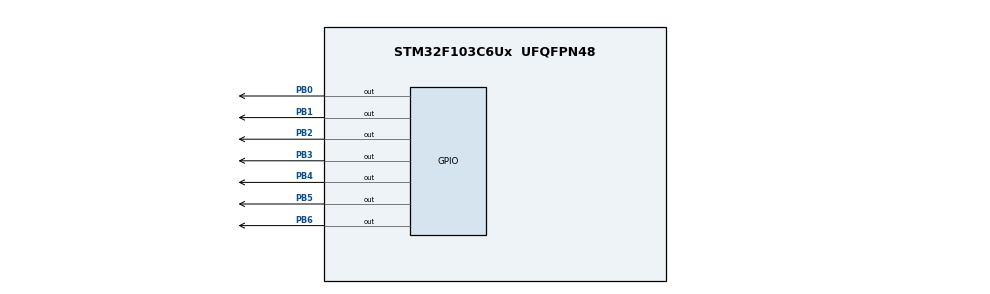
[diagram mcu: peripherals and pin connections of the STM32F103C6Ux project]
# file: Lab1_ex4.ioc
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Mcu.Family=STM32F1
Mcu.Name=STM32F103C6Ux
Mcu.Package=UFQFPN48
NVIC.PriorityGroup=NVIC_PRIORITYGROUP_4
PB0.Signal=GPIO_Output
PB1.Signal=GPIO_Output
PB2.Signal=GPIO_Output
PB3.Signal=GPIO_Output
PB4.Signal=GPIO_Output
PB5.Signal=GPIO_Output
PB6.Signal=GPIO_Output
ProjectManager.HeapSize=0x200
ProjectManager.StackSize=0x400
ProjectManager.TargetToolchain=STM32CubeIDE
RCC.APB1Freq_Value=8000000
RCC.APB2Freq_Value=8000000
VP_SYS_VS_ND.Mode=No_Debug
board=custom

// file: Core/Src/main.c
/* USER CODE BEGIN Header */
/**
  ******************************************************************************
  * @file           : main.c
  * @brief          : Main program body
  ******************************************************************************
  * @attention
  *
  * <h2><center>&copy; Copyright (c) 2025 STMicroelectronics.
  * All rights reserved.</center></h2>
  *
  * This software component is licensed by ST under BSD 3-Clause license,
  * the "License"; You may not use this file except in compliance with the
  * License. You may obtain a copy of the License at:
  *                        opensource.org/licenses/BSD-3-Clause
  *
  ******************************************************************************
  */
/* USER CODE END Header */
#include "main.h"

void SystemClock_Config(void);
static void MX_GPIO_Init(void);

/* USER CODE BEGIN 0 */
int counter = 0;

void display7SEG(uint8_t num){
	if (num > 9) return;
	switch (num)
	{
	case 0:
		HAL_GPIO_WritePin(GPIOB, GPIO_PIN_0, GPIO_PIN_RESET);
		HAL_GPIO_WritePin(GPIOB, GPIO_PIN_1, GPIO_PIN_RESET);
		HAL_GPIO_WritePin(GPIOB, GPIO_PIN_2, GPIO_PIN_RESET);
		HAL_GPIO_WritePin(GPIOB, GPIO_PIN_3, GPIO_PIN_RESET);
		HAL_GPIO_WritePin(GPIOB, GPIO_PIN_4, GPIO_PIN_RESET);
		HAL_GPIO_WritePin(GPIOB, GPIO_PIN_5, GPIO_PIN_RESET);
		HAL_GPIO_WritePin(GPIOB, GPIO_PIN_6, GPIO_PIN_SET);
		break;
	case 1:
		HAL_GPIO_WritePin(GPIOB, GPIO_PIN_0, GPIO_PIN_SET);
		HAL_GPIO_WritePin(GPIOB, GPIO_PIN_1, GPIO_PIN_RESET);
		HAL_GPIO_WritePin(GPIOB, GPIO_PIN_2, GPIO_PIN_RESET);
		HAL_GPIO_WritePin(GPIOB, GPIO_PIN_3, GPIO_PIN_SET);
		HAL_GPIO_WritePin(GPIOB, GPIO_PIN_4, GPIO_PIN_SET);
		HAL_GPIO_WritePin(GPIOB, GPIO_PIN_5, GPIO_PIN_SET);
		HAL_GPIO_WritePin(GPIOB, GPIO_PIN_6, GPIO_PIN_SET);
		break;
	case 2:
		HAL_GPIO_WritePin(GPIOB, GPIO_PIN_0, GPIO_PIN_RESET);
		HAL_GPIO_WritePin(GPIOB, GPIO_PIN_1, GPIO_PIN_RESET);
		HAL_GPIO_WritePin(GPIOB, GPIO_PIN_2, GPIO_PIN_SET);
		HAL_GPIO_WritePin(GPIOB, GPIO_PIN_3, GPIO_PIN_RESET);
		HAL_GPIO_WritePin(GPIOB, GPIO_PIN_4, GPIO_PIN_RESET);
		HAL_GPIO_WritePin(GPIOB, GPIO_PIN_5, GPIO_PIN_SET);
		HAL_GPIO_WritePin(GPIOB, GPIO_PIN_6, GPIO_PIN_RESET);
		break;
	case 3:
		HAL_GPIO_WritePin(GPIOB, GPIO_PIN_0, GPIO_PIN_RESET);
		HAL_GPIO_WritePin(GPIOB, GPIO_PIN_1, GPIO_PIN_RESET);
		HAL_GPIO_WritePin(GPIOB, GPIO_PIN_2, GPIO_PIN_RESET);
		HAL_GPIO_WritePin(GPIOB, GPIO_PIN_3, GPIO_PIN_RESET);
		HAL_GPIO_WritePin(GPIOB, GPIO_PIN_4, GPIO_PIN_SET);
		HAL_GPIO_WritePin(GPIOB, GPIO_PIN_5, GPIO_PIN_SET);
		HAL_GPIO_WritePin(GPIOB, GPIO_PIN_6, GPIO_PIN_RESET);
		break;
	case 4:
        HAL_GPIO_WritePin(GPIOB, GPIO_PIN_0, GPIO_PIN_SET);
        HAL_GPIO_WritePin(GPIOB, GPIO_PIN_1, GPIO_PIN_RESET);
        HAL_GPIO_WritePin(GPIOB, GPIO_PIN_2, GPIO_PIN_RESET);
        HAL_GPIO_WritePin(GPIOB, GPIO_PIN_3, GPIO_PIN_SET);
        HAL_GPIO_WritePin(GPIOB, GPIO_PIN_4, GPIO_PIN_SET);
        HAL_GPIO_WritePin(GPIOB, GPIO_PIN_5, GPIO_PIN_RESET);
        HAL_GPIO_WritePin(GPIOB, GPIO_PIN_6, GPIO_PIN_RESET);
        break;
	case 5:
		HAL_GPIO_WritePin(GPIOB, GPIO_PIN_0, GPIO_PIN_RESET);
		HAL_GPIO_WritePin(GPIOB, GPIO_PIN_1, GPIO_PIN_SET);
		HAL_GPIO_WritePin(GPIOB, GPIO_PIN_2, GPIO_PIN_RESET);
		HAL_GPIO_WritePin(GPIOB, GPIO_PIN_3, GPIO_PIN_RESET);
		HAL_GPIO_WritePin(GPIOB, GPIO_PIN_4, GPIO_PIN_SET);
		HAL_GPIO_WritePin(GPIOB, GPIO_PIN_5, GPIO_PIN_RESET);
		HAL_GPIO_WritePin(GPIOB, GPIO_PIN_6, GPIO_PIN_RESET);
		break;
	case 6:
		HAL_GPIO_WritePin(GPIOB, GPIO_PIN_0, GPIO_PIN_RESET);
		HAL_GPIO_WritePin(GPIOB, GPIO_PIN_1, GPIO_PIN_SET);
		HAL_GPIO_WritePin(GPIOB, GPIO_PIN_2, GPIO_PIN_RESET);
		HAL_GPIO_WritePin(GPIOB, GPIO_PIN_3, GPIO_PIN_RESET);
		HAL_GPIO_WritePin(GPIOB, GPIO_PIN_4, GPIO_PIN_RESET);
		HAL_GPIO_WritePin(GPIOB, GPIO_PIN_5, GPIO_PIN_RESET);
		HAL_GPIO_WritePin(GPIOB, GPIO_PIN_6, GPIO_PIN_RESET);
		break;
	case 7:
		HAL_GPIO_WritePin(GPIOB, GPIO_PIN_0, GPIO_PIN_RESET);
		HAL_GPIO_WritePin(GPIOB, GPIO_PIN_1, GPIO_PIN_RESET);
		HAL_GPIO_WritePin(GPIOB, GPIO_PIN_2, GPIO_PIN_RESET);
		HAL_GPIO_WritePin(GPIOB, GPIO_PIN_3, GPIO_PIN_SET);
		HAL_GPIO_WritePin(GPIOB, GPIO_PIN_4, GPIO_PIN_SET);
		HAL_GPIO_WritePin(GPIOB, GPIO_PIN_5, GPIO_PIN_SET);
		HAL_GPIO_WritePin(GPIOB, GPIO_PIN_6, GPIO_PIN_SET);
		break;
	case 8:
		HAL_GPIO_WritePin(GPIOB, GPIO_PIN_0, GPIO_PIN_RESET);
		HAL_GPIO_WritePin(GPIOB, GPIO_PIN_1, GPIO_PIN_RESET);
		HAL_GPIO_WritePin(GPIOB, GPIO_PIN_2, GPIO_PIN_RESET);
		HAL_GPIO_WritePin(GPIOB, GPIO_PIN_3, GPIO_PIN_RESET);
		HAL_GPIO_WritePin(GPIOB, GPIO_PIN_4, GPIO_PIN_RESET);
		HAL_GPIO_WritePin(GPIOB, GPIO_PIN_5, GPIO_PIN_RESET);
		HAL_GPIO_WritePin(GPIOB, GPIO_PIN_6, GPIO_PIN_RESET);
		break;
	case 9:
		HAL_GPIO_WritePin(GPIOB, GPIO_PIN_0, GPIO_PIN_RESET);
		HAL_GPIO_WritePin(GPIOB, GPIO_PIN_1, GPIO_PIN_RESET);
		HAL_GPIO_WritePin(GPIOB, GPIO_PIN_2, GPIO_PIN_RESET);
		HAL_GPIO_WritePin(GPIOB, GPIO_PIN_3, GPIO_PIN_RESET);
		HAL_GPIO_WritePin(GPIOB, GPIO_PIN_4, GPIO_PIN_SET);
		HAL_GPIO_WritePin(GPIOB, GPIO_PIN_5, GPIO_PIN_RESET);
		HAL_GPIO_WritePin(GPIOB, GPIO_PIN_6, GPIO_PIN_RESET);
		break;
	default:
		HAL_GPIO_WritePin(GPIOB, GPIO_PIN_0, GPIO_PIN_SET);
		HAL_GPIO_WritePin(GPIOB, GPIO_PIN_1, GPIO_PIN_SET);
		HAL_GPIO_WritePin(GPIOB, GPIO_PIN_2, GPIO_PIN_SET);
		HAL_GPIO_WritePin(GPIOB, GPIO_PIN_3, GPIO_PIN_SET);
		HAL_GPIO_WritePin(GPIOB, GPIO_PIN_4, GPIO_PIN_SET);
		HAL_GPIO_WritePin(GPIOB, GPIO_PIN_5, GPIO_PIN_SET);
		HAL_GPIO_WritePin(GPIOB, GPIO_PIN_6, GPIO_PIN_SET);
		break;
	}
}
/* USER CODE END 0 */

int main(void)
{

  /* MCU Configuration--------------------------------------------------------*/

  /* Reset of all peripherals, Initializes the Flash interface and the Systick. */
  HAL_Init();

  /* Configure the system clock */
  SystemClock_Config();

  /* Initialize all configured peripherals */
  MX_GPIO_Init();

  /* Infinite loop */
  /* USER CODE BEGIN WHILE */
  while (1)
  {
	  if( counter >= 10) counter = 0;
	  	  display7SEG ( counter ++) ;
	  	  HAL_Delay(1000) ;

    /* USER CODE END WHILE */

  }
}

void SystemClock_Config(void)
{
  RCC_OscInitTypeDef RCC_OscInitStruct = {0};
  RCC_ClkInitTypeDef RCC_ClkInitStruct = {0};

  /** Initializes the RCC Oscillators according to the specified parameters
  * in the RCC_OscInitTypeDef structure.
  */
  RCC_OscInitStruct.OscillatorType = RCC_OSCILLATORTYPE_HSI;
  RCC_OscInitStruct.HSIState = RCC_HSI_ON;
  RCC_OscInitStruct.HSICalibrationValue = RCC_HSICALIBRATION_DEFAULT;
  RCC_OscInitStruct.PLL.PLLState = RCC_PLL_NONE;
  if (HAL_RCC_OscConfig(&RCC_OscInitStruct) != HAL_OK)
  {
    Error_Handler();
  }
  /** Initializes the CPU, AHB and APB buses clocks
  */
  RCC_ClkInitStruct.ClockType = RCC_CLOCKTYPE_HCLK|RCC_CLOCKTYPE_SYSCLK
                              |RCC_CLOCKTYPE_PCLK1|RCC_CLOCKTYPE_PCLK2;
  RCC_ClkInitStruct.SYSCLKSource = RCC_SYSCLKSOURCE_HSI;
  RCC_ClkInitStruct.AHBCLKDivider = RCC_SYSCLK_DIV1;
  RCC_ClkInitStruct.APB1CLKDivider = RCC_HCLK_DIV1;
  RCC_ClkInitStruct.APB2CLKDivider = RCC_HCLK_DIV1;

  if (HAL_RCC_ClockConfig(&RCC_ClkInitStruct, FLASH_LATENCY_0) != HAL_OK)
  {
    Error_Handler();
  }
}

static void MX_GPIO_Init(void)
{
  GPIO_InitTypeDef GPIO_InitStruct = {0};

  /* GPIO Ports Clock Enable */
  __HAL_RCC_GPIOB_CLK_ENABLE();

  /*Configure GPIO pin Output Level */
  HAL_GPIO_WritePin(GPIOB, GPIO_PIN_0|GPIO_PIN_1|GPIO_PIN_2|GPIO_PIN_3
                          |GPIO_PIN_4|GPIO_PIN_5|GPIO_PIN_6, GPIO_PIN_RESET);

  /*Configure GPIO pins : PB0 PB1 PB2 PB3
                           PB4 PB5 PB6 */
  GPIO_InitStruct.Pin = GPIO_PIN_0|GPIO_PIN_1|GPIO_PIN_2|GPIO_PIN_3
                          |GPIO_PIN_4|GPIO_PIN_5|GPIO_PIN_6;
  GPIO_InitStruct.Mode = GPIO_MODE_OUTPUT_PP;
  GPIO_InitStruct.Pull = GPIO_NOPULL;
  GPIO_InitStruct.Speed = GPIO_SPEED_FREQ_LOW;
  HAL_GPIO_Init(GPIOB, &GPIO_InitStruct);

}

void Error_Handler(void)
{
  __disable_irq();
  while (1)
  {
  }
}

/************************ (C) COPYRIGHT STMicroelectronics *****END OF FILE****/
